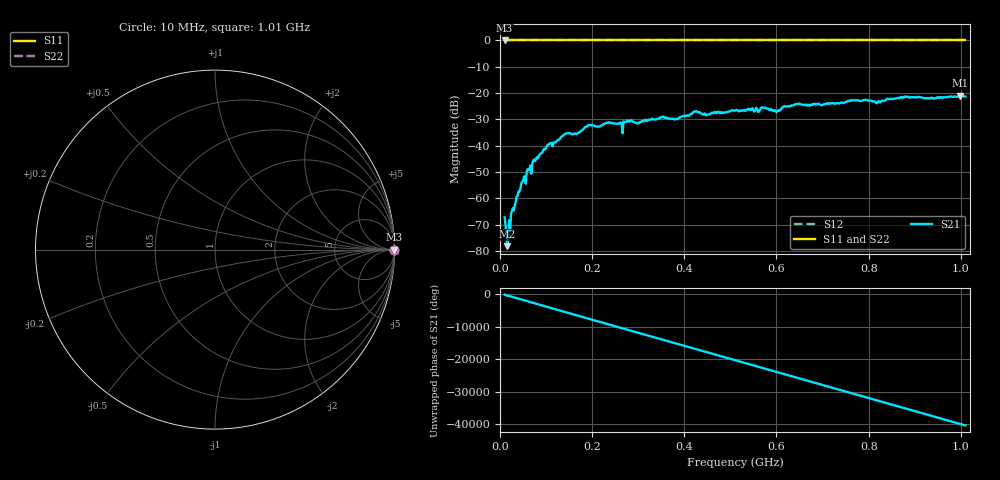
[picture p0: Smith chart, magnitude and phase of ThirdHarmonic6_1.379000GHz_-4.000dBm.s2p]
! 8/16/2025 3:39:25 PM
! C:\ANRITSUVNA\TEMP\TEMP.S2P
! CHANNEL.1
! TR.MEASUREMENT
! RAW.DATA
! RF.CORRECTION.OFF
! AVERAGING.OFF
! IF.BANDWIDTH: 5KHZ
! SWEEPTYPE:  FREQ.SWEEP(Linear)
! Reference Plane Port Info
! PORT:  PORT1  PORT2
! DISTANCE:  0  m  0  m
! TIME:  0  s  0  s
! PHASE.OFFSET:  0  deg.  0  deg.
! LOSS:  0  dB  0  dB
! REF.LOSS:  0  dB  0  dB
! REF.FREQ:  0  Hz  0  Hz
! Power Info
! POWER:  -20  dBm  -20  dBm
! EFF.POWER:  -20  dBm  -20  dBm
! SOURCE.ATTEN:  0  dB  0  dB
! TEST.ATTEN:  0  dB  0  dB
# GHZ S RI R 50.0
! FREQ.GHZ  S11RE  S11IM  S21RE  S21IM  S12RE  S12IM  S22RE  S22IM
!; PortSelection: Port_12
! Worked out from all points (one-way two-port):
!   501 points, 10 MHz to 1.01 GHz, reference 50 ohm
!   highest |S21| = -20.98 dB at 998 MHz (marker M1); lowest = -78.2 dB at 16 MHz (marker M2)
!   lowest |S11| = 0.0 dB at 10 MHz (marker M3)
!   |S11| at or under -10 dB: nowhere
!   |S22| runs from 0.0 to 0.0 dB; largest |S21 - S12| = 1.1
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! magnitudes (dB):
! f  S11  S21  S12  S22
! 10 MHz  0.0  -67.2  0.0  0.0
! 16 MHz  0.0  -78.2  0.0  0.0
! 18 MHz  0.0  -75.1  0.0  0.0
! 28 MHz  0.0  -63.7  0.0  0.0
! 50 MHz  0.0  -53.4  0.0  0.0
! 76 MHz  0.0  -45.9  0.0  0.0
! 106 MHz  0.0  -39.6  0.0  0.0
! 138 MHz  0.0  -35.9  0.0  0.0
! 178 MHz  0.0  -34.2  0.0  0.0
! 196 MHz  0.0  -32.1  0.0  0.0
! 262 MHz  0.0  -31.2  0.0  0.0
! 344 MHz  0.0  -29.8  0.0  0.0
! 382 MHz  0.0  -29.8  0.0  0.0
! 424 MHz  0.0  -27.0  0.0  0.0
! 510 MHz  0.0  -26.7  0.0  0.0
! 572 MHz  0.0  -25.6  0.0  0.0
! 602 MHz  0.0  -26.8  0.0  0.0
! 644 MHz  0.0  -24.2  0.0  0.0
! 678 MHz  0.0  -24.5  0.0  0.0
! 844 MHz  0.0  -22.3  0.0  0.0
! 998 MHz  0.0  -21.0  0.0  0.0
! 1.01 GHz  0.0  -21.3  0.0  0.0
